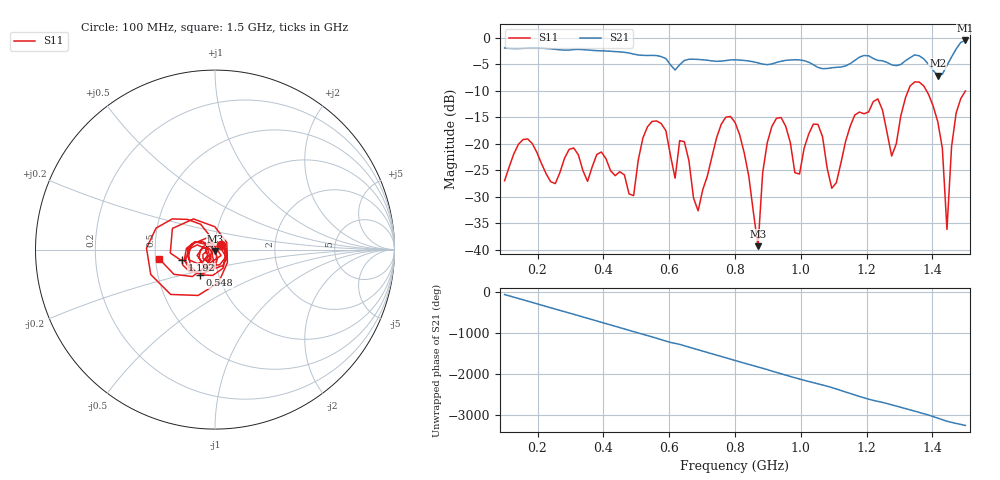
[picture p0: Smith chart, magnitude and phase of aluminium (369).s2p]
! NanoVNA-App
! Date: 2025-09-25 14:58:09
! Start: 100MHz Stop: 1,5GHz Points: 101
! S-Parameter data: F S11 S21 S12 S22
# Hz S RI R 50
!  Frequency  S11_Real  S11_Imag  S21_Real  S21_Imag  S12_Real  S12_Imag  S22_Real  S22_Imag
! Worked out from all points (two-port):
!   101 points, 100 MHz to 1.5 GHz, reference 50 ohm
!   highest |S21| = -0.50 dB at 1.5 GHz (marker M1); lowest = -7.1 dB at 1.416 GHz (marker M2)
!   |S21| within 3 dB of the highest: start of sweep to 572.5 MHz; 1.459 GHz to end of sweep (the widest 2 of 4)
!   lowest |S11| = -39.3 dB at 870 MHz (marker M3), VSWR 1.02, Z = 50.3 - j1.05 ohm
!   |S11| at or under -10 dB: start of sweep to 1.326 GHz; 1.382 GHz to end of sweep
!   S12 and S22 are empty: the file has one direction only
!   S11 on the Smith chart (normalised r, x): 100 MHz: 1.07, +0.06; 548 MHz: 0.82, -0.24; 1.192 GHz: 0.69, -0.08; 1.5 GHz: 0.52, -0.06
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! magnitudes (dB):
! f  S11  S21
! 100 MHz  -27.0  -1.9
! 170 MHz  -19.1  -1.9
! 338 MHz  -25.1  -2.2
! 492 MHz  -29.8  -3.1
! 548 MHz  -15.8  -3.3
! 576 MHz  -16.2  -3.5
! 618 MHz  -26.5  -6.1
! 646 MHz  -19.6  -4.3
! 688 MHz  -32.6  -4.1
! 800 MHz  -16.0  -4.1
! 870 MHz  -39.3  -4.7
! 912 MHz  -16.7  -4.9
! 996 MHz  -25.7  -4.2
! 1.038 GHz  -16.3  -5.1
! 1.094 GHz  -28.4  -5.7
! 1.192 GHz  -14.3  -3.3
! 1.276 GHz  -22.3  -5.1
! 1.346 GHz  -8.3  -3.2
! 1.416 GHz  -15.8  -7.1
! 1.444 GHz  -36.2  -5.2
! 1.458 GHz  -20.5  -3.6
! 1.5 GHz  -10.0  -0.5
